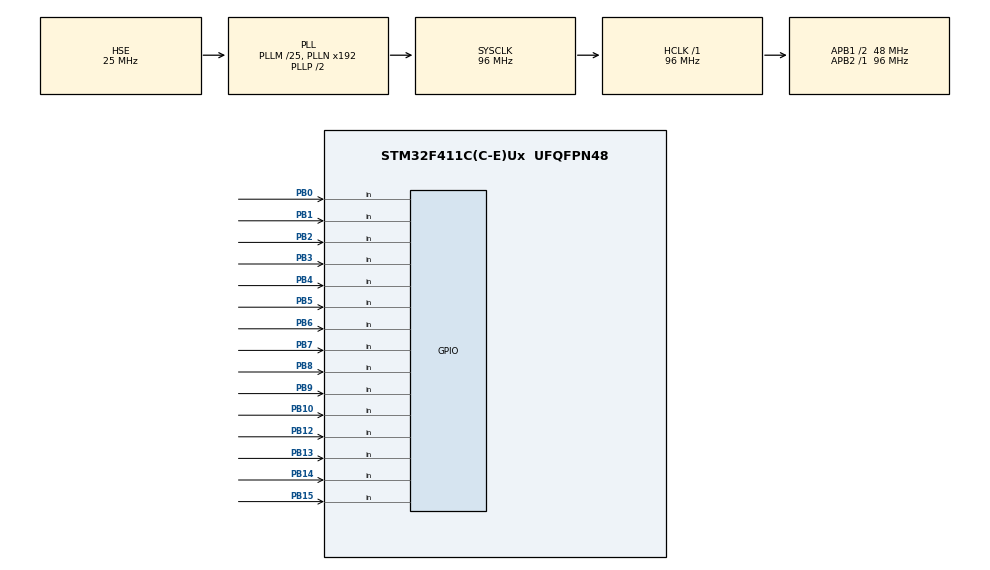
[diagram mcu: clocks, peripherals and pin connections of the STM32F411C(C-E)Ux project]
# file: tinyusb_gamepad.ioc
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FREERTOS.Tasks01=defaultTask,0,256,StartDefaultTask,Default,NULL,Dynamic,NULL,NULL
FREERTOS.configENABLE_FPU=1
FREERTOS.configMINIMAL_STACK_SIZE=256
FREERTOS.configTOTAL_HEAP_SIZE=32768
FREERTOS.configUSE_NEWLIB_REENTRANT=1
FREERTOS.configUSE_TIMERS=1
Mcu.Family=STM32F4
Mcu.Name=STM32F411C(C-E)Ux
Mcu.Package=UFQFPN48
NVIC.PriorityGroup=NVIC_PRIORITYGROUP_4
NVIC.TIM1_UP_TIM10_IRQn=true\:15\:0\:false\:false\:true\:false\:false\:true\:true
NVIC.TimeBase=TIM1_UP_TIM10_IRQn
NVIC.TimeBaseIP=TIM1
PB0.GPIO_PuPd=GPIO_PULLUP
PB0.Signal=GPIO_Input
PB1.GPIO_PuPd=GPIO_PULLUP
PB1.Signal=GPIO_Input
PB10.GPIO_PuPd=GPIO_PULLUP
PB10.Signal=GPIO_Input
PB12.GPIO_PuPd=GPIO_PULLUP
PB12.Signal=GPIO_Input
PB13.GPIO_PuPd=GPIO_PULLUP
PB13.Signal=GPIO_Input
PB14.GPIO_PuPd=GPIO_PULLUP
PB14.Signal=GPIO_Input
PB15.GPIO_PuPd=GPIO_PULLUP
PB15.Signal=GPIO_Input
PB2.GPIO_PuPd=GPIO_PULLUP
PB2.Signal=GPIO_Input
PB3.GPIO_PuPd=GPIO_PULLUP
PB3.Signal=GPIO_Input
PB4.GPIO_PuPd=GPIO_PULLUP
PB4.Signal=GPIO_Input
PB5.GPIO_PuPd=GPIO_PULLUP
PB5.Signal=GPIO_Input
PB6.GPIO_PuPd=GPIO_PULLUP
PB6.Signal=GPIO_Input
PB7.GPIO_PuPd=GPIO_PULLUP
PB7.Signal=GPIO_Input
PB8.GPIO_PuPd=GPIO_PULLUP
PB8.Signal=GPIO_Input
PB9.GPIO_PuPd=GPIO_PULLUP
PB9.Signal=GPIO_Input
PH0\ -\ OSC_IN.Mode=HSE-External-Oscillator
PH0\ -\ OSC_IN.Signal=RCC_OSC_IN
PH1\ -\ OSC_OUT.Mode=HSE-External-Oscillator
PH1\ -\ OSC_OUT.Signal=RCC_OSC_OUT
ProjectManager.HeapSize=0x200
ProjectManager.StackSize=0x400
ProjectManager.TargetToolchain=STM32CubeIDE
RCC.48MHZClocksFreq_Value=48000000
RCC.AHBFreq_Value=96000000
RCC.APB1CLKDivider=RCC_HCLK_DIV2
RCC.APB1Freq_Value=48000000
RCC.APB1TimFreq_Value=96000000
RCC.APB2Freq_Value=96000000
RCC.APB2TimFreq_Value=96000000
RCC.CortexFreq_Value=96000000
RCC.HCLKFreq_Value=96000000
RCC.HSE_VALUE=25000000
RCC.HSI_VALUE=16000000
RCC.LSE_VALUE=32768
RCC.PLLM=25
RCC.PLLSourceVirtual=RCC_PLLSOURCE_HSE
RCC.SYSCLKFreq_VALUE=96000000
RCC.SYSCLKSource=RCC_SYSCLKSOURCE_PLLCLK
RCC.VCOOutputFreq_Value=192000000
VP_FREERTOS_VS_CMSIS_V1.Mode=CMSIS_V1
VP_SYS_VS_tim1.Mode=TIM1
board=custom

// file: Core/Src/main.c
/* USER CODE BEGIN Header */
/**
  ******************************************************************************
  * @file           : main.c
  * @brief          : Main program body
  ******************************************************************************
  * @attention
  *
  * Copyright (c) 2024 STMicroelectronics.
  * All rights reserved.
  *
  * This software is licensed under terms that can be found in the LICENSE file
  * in the root directory of this software component.
  * If no LICENSE file comes with this software, it is provided AS-IS.
  *
  ******************************************************************************
  */
/* USER CODE END Header */
#include "main.h"
#include "cmsis_os.h"

/* USER CODE BEGIN Includes */
#include "board_api.h"
#include "tusb.h"
#include "usb_descriptors.h"
#include "FreeRTOS_CLI.h"
/* USER CODE END Includes */

/* USER CODE BEGIN PTD */
typedef struct gamepad_t_{
	uint16_t debounced_gpio;
	uint16_t previous_debounced_gpio;
	uint32_t gpio_debounce_time[16];
	uint8_t  mapped_button[16];
	bool 	 updated;
}gamepad_t;
/* USER CODE END PTD */

/* USER CODE BEGIN PD */
#define USBD_STACK_SIZE    (6*configMINIMAL_STACK_SIZE/2) * (CFG_TUSB_DEBUG ? 2 : 1)
#define CDC_STACK_SIZE     2*configMINIMAL_STACK_SIZE
#define HID_STACK_SIZE     2*configMINIMAL_STACK_SIZE

#define DEBOUNCE_TIME 		5
#define DEFAULT_MAPPING		0
#define PIN_MASK			0xF7FB
/* USER CODE END PD */

osThreadId defaultTaskHandle;

void SystemClock_Config(void);
static void MX_GPIO_Init(void);
void StartDefaultTask(void const * argument);

/* USER CODE BEGIN 0 */
uint16_t gpio_get_all(void){
	uint16_t raw_gpio = GPIOB->IDR;
	// Remove GPIOB Pin 11 from pin mask
	// if a button is pressed, its bit is set
	raw_gpio = ~raw_gpio;
	raw_gpio = raw_gpio & PIN_MASK;
	return raw_gpio;
}

void gamepad_init(gamepad_t *gamepad, uint8_t *mapped_buttons){
	for (int i=0;i<16;i++){
		gamepad->mapped_button[i] = *mapped_buttons++;
		gamepad->gpio_debounce_time[i] = 0;
	}
	gamepad->updated = false;
	gamepad->debounced_gpio = 0;
	//gamepad->previous_debounced_gpio = 0;
}

void gamepad_new_button_map(gamepad_t *gamepad, uint8_t *mapped_buttons){
	for (int i=0;i<16;i++){
		gamepad->mapped_button[i] = *mapped_buttons++;
	}
}

bool debounceGpioGetAll(gamepad_t *gamepad){
	uint16_t raw_gpio = gpio_get_all();
	if (gamepad->debounced_gpio == (raw_gpio & PIN_MASK)) {
		if (gamepad->debounced_gpio) {
			gamepad->updated = true;
			return true;
		}else{
			gamepad->updated = false;
			return false;
		}
	}

	uint32_t now = board_millis();
	// check each button use case GPIO for state
	for (int pin = 0; pin < 16; pin++) {
		uint16_t pin_mask = 1 << pin;
		if (pin != 11){
			// Allow debouncer to change state if button state changed and debounce delay threshold met
			if ((gamepad->debounced_gpio & pin_mask) != (raw_gpio & pin_mask) && ((now - gamepad->gpio_debounce_time[pin]) > DEBOUNCE_TIME)) {
				gamepad->debounced_gpio ^= pin_mask;
				gamepad->gpio_debounce_time[pin] = now;
			}
		}
	}
	gamepad->updated = true;
	return true;
}

/* Blink pattern
 * - 250 ms  : device not mounted
 * - 1000 ms : device mounted
 * - 2500 ms : device is suspended
 */
enum  {
  BLINK_NOT_MOUNTED = 250,
  BLINK_MOUNTED = 1000,
  BLINK_SUSPENDED = 2500,
};

TimerHandle_t blinky_tm;

// USB Device Driver task
// This top level thread process all usb events and invoke callbacks
void usb_device_task(void* param)
{
  (void) param;

  // init device stack on configured roothub port
  // This should be called after scheduler/kernel is started.
  // Otherwise it could cause kernel issue since USB IRQ handler does use RTOS queue API.
  tud_init(BOARD_TUD_RHPORT);

  // RTOS forever loop
  while (1)
  {
    // put this thread to waiting state until there is new events
    tud_task();

    // following code only run if tud_task() process at least 1 event
    //tud_cdc_write_flush();
  }
}

//--------------------------------------------------------------------+
// Device callbacks
//--------------------------------------------------------------------+

// Invoked when device is mounted
void tud_mount_cb(void)
{
  xTimerChangePeriod(blinky_tm, pdMS_TO_TICKS(BLINK_MOUNTED), 0);
}

// Invoked when device is unmounted
void tud_umount_cb(void)
{
  xTimerChangePeriod(blinky_tm, pdMS_TO_TICKS(BLINK_NOT_MOUNTED), 0);
}

// Invoked when usb bus is suspended
// remote_wakeup_en : if host allow us  to perform remote wakeup
// Within 7ms, device must draw an average of current less than 2.5 mA from bus
void tud_suspend_cb(bool remote_wakeup_en)
{
  (void) remote_wakeup_en;
  xTimerChangePeriod(blinky_tm, pdMS_TO_TICKS(BLINK_SUSPENDED), 0);
}

// Invoked when usb bus is resumed
void tud_resume_cb(void)
{
  xTimerChangePeriod(blinky_tm, pdMS_TO_TICKS(BLINK_MOUNTED), 0);
}

//--------------------------------------------------------------------+
// USB HID
//--------------------------------------------------------------------+
uint32_t count = 0;
static void send_hid_report(uint8_t report_id, gamepad_t *gamepad)
{
  // skip if hid is not ready yet
  if ( !tud_hid_ready() ) return;

  switch(report_id)
  {
    case REPORT_ID_KEYBOARD:
    {
      // use to avoid send multiple consecutive zero report for keyboard
      static bool has_keyboard_key = false;

      if (gamepad->updated)
      {
        uint8_t keycode[6] = { 0 };
        int idx = 0;
        for (int pin=0; pin<16;pin++){
        	uint16_t pin_mask = 1 << pin;
        	//uint16_t pin = gamepad->debounced_gpio & pin_mask;
        	//uint16_t previous_pin_state = gamepad->previous_debounced_gpio & pin_mask;

        	if (gamepad->debounced_gpio & pin_mask){
        		keycode[idx++] = gamepad->mapped_button[15-pin];
        		if (idx >= 6) {
        			// max of 6 different buttons pressed at same time
        			break;
        		}
        	}
        }
		#if 0
        count++;
        if (count>=600){
        	if (count > 800){
        		count = 0;
        	}
            keycode[0] = HID_KEY_ARROW_RIGHT;
            keycode[1] = HID_KEY_SPACE;
        }else{
            keycode[0] = HID_KEY_ARROW_RIGHT;
        }
		#endif

        tud_hid_keyboard_report(REPORT_ID_KEYBOARD, 0, keycode);
        has_keyboard_key = true;
      }else
      {
        // send empty key report if previously has key pressed
        if (has_keyboard_key) tud_hid_keyboard_report(REPORT_ID_KEYBOARD, 0, NULL);
        has_keyboard_key = false;
      }
    }
    break;

    case REPORT_ID_MOUSE:
    {
      int8_t const delta = 5;

      // no button, right + down, no scroll, no pan
      tud_hid_mouse_report(REPORT_ID_MOUSE, 0x00, delta, delta, 0, 0);
    }
    break;

#if 0
    case REPORT_ID_CONSUMER_CONTROL:
    {
      // use to avoid send multiple consecutive zero report
      static bool has_consumer_key = false;

      if ( btn )
      {
        // volume down
        uint16_t volume_down = HID_USAGE_CONSUMER_VOLUME_DECREMENT;
        tud_hid_report(REPORT_ID_CONSUMER_CONTROL, &volume_down, 2);
        has_consumer_key = true;
      }else
      {
        // send empty key report (release key) if previously has key pressed
        uint16_t empty_key = 0;
        if (has_consumer_key) tud_hid_report(REPORT_ID_CONSUMER_CONTROL, &empty_key, 2);
        has_consumer_key = false;
      }
    }
    break;

    case REPORT_ID_GAMEPAD:
    {
      // use to avoid send multiple consecutive zero report for keyboard
      static bool has_gamepad_key = false;

      hid_gamepad_report_t report =
      {
        .x   = 0, .y = 0, .z = 0, .rz = 0, .rx = 0, .ry = 0,
        .hat = 0, .buttons = 0
      };

      if ( btn )
      {
        report.hat = GAMEPAD_HAT_UP;
        report.buttons = GAMEPAD_BUTTON_A;
        tud_hid_report(REPORT_ID_GAMEPAD, &report, sizeof(report));

        has_gamepad_key = true;
      }else
      {
        report.hat = GAMEPAD_HAT_CENTERED;
        report.buttons = 0;
        if (has_gamepad_key) tud_hid_report(REPORT_ID_GAMEPAD, &report, sizeof(report));
        has_gamepad_key = false;
      }
    }
    break;
#endif

    default: break;
  }
}

static gamepad_t gamepad;
static int current_mapping = DEFAULT_MAPPING;
static uint8_t mapped_buttons[3][16] = {{HID_KEY_O, HID_KEY_ENTER, HID_KEY_N, HID_KEY_SPACE, 0, 0, 0, HID_KEY_I, HID_KEY_U, HID_KEY_W, HID_KEY_D, HID_KEY_S, HID_KEY_A, 0, HID_KEY_K, HID_KEY_J}, {HID_KEY_K, HID_KEY_M, HID_KEY_N, HID_KEY_B, 0, 0, 0, HID_KEY_H, HID_KEY_ARROW_UP, HID_KEY_SPACE, HID_KEY_ARROW_RIGHT, HID_KEY_ENTER, HID_KEY_ARROW_LEFT, 0, HID_KEY_J, HID_KEY_ARROW_DOWN}, {0}};
//static uint8_t mapped_buttons[16] = {HID_KEY_K, HID_KEY_M, HID_KEY_N, HID_KEY_B, 0, 0, 0, HID_KEY_H, HID_KEY_ARROW_UP, HID_KEY_SPACE, HID_KEY_ARROW_RIGHT, HID_KEY_ENTER, HID_KEY_ARROW_LEFT, 0, HID_KEY_J, HID_KEY_ARROW_DOWN};

void hid_task(void* param)
{
  (void) param;
  gamepad_init(&gamepad, (uint8_t *)&mapped_buttons[current_mapping]);

  while(1)
  {
    // Poll every 2ms
    vTaskDelay(2);

    //uint32_t const btn = board_button_read();
    bool state_changed = debounceGpioGetAll(&gamepad);

    // Remote wakeup
    if (tud_suspended() && state_changed)
    {
      // Wake up host if we are in suspend mode
      // and REMOTE_WAKEUP feature is enabled by host
      tud_remote_wakeup();
    }
    else
    {
      // Send the 1st of report chain, the rest will be sent by tud_hid_report_complete_cb()
      send_hid_report(REPORT_ID_KEYBOARD, &gamepad);
    }
  }
}

// Invoked when sent REPORT successfully to host
// Application can use this to send the next report
// Note: For composite reports, report[0] is report ID
void tud_hid_report_complete_cb(uint8_t instance, uint8_t const* report, uint16_t len)
{
  (void) instance;
  (void) len;

  //uint8_t next_report_id = report[0] + 1;

  //if (next_report_id < REPORT_ID_COUNT)
  //{
    //send_hid_report(next_report_id, board_button_read());
	  //send_hid_report(REPORT_ID_KEYBOARD, board_button_read());
  	  send_hid_report(REPORT_ID_KEYBOARD, &gamepad);
  //}
}

// Invoked when received GET_REPORT control request
// Application must fill buffer report's content and return its length.
// Return zero will cause the stack to STALL request
uint16_t tud_hid_get_report_cb(uint8_t instance, uint8_t report_id, hid_report_type_t report_type, uint8_t* buffer, uint16_t reqlen)
{
  // TODO not Implemented
  (void) instance;
  (void) report_id;
  (void) report_type;
  (void) buffer;
  (void) reqlen;

  return 0;
}

// Invoked when received SET_REPORT control request or
// received data on OUT endpoint ( Report ID = 0, Type = 0 )
void tud_hid_set_report_cb(uint8_t instance, uint8_t report_id, hid_report_type_t report_type, uint8_t const* buffer, uint16_t bufsize)
{
  (void) instance;

  if (report_type == HID_REPORT_TYPE_OUTPUT)
  {
    // Set keyboard LED e.g Capslock, Numlock etc...
    if (report_id == REPORT_ID_KEYBOARD)
    {
      // bufsize should be (at least) 1
      if ( bufsize < 1 ) return;

      uint8_t const kbd_leds = buffer[0];

      if (kbd_leds & KEYBOARD_LED_CAPSLOCK)
      {
        // Capslock On: disable blink, turn led on
        xTimerStop(blinky_tm, portMAX_DELAY);
        board_led_write(true);
      }else
      {
        // Caplocks Off: back to normal blink
        board_led_write(false);
        xTimerStart(blinky_tm, portMAX_DELAY);
      }
    }
  }
}

//--------------------------------------------------------------------+
// BLINKING TASK
//--------------------------------------------------------------------+
void led_blinky_cb(TimerHandle_t xTimer)
{
  (void) xTimer;
  static bool led_state = false;

  board_led_write(led_state);
  led_state = 1 - led_state; // toggle
}

#define MAX_INPUT_LENGTH    256
#define MAX_OUTPUT_LENGTH   256
SemaphoreHandle_t sem_cdc_rx, sem_cdc_tx;

void CDC_Transmit_HS(void const* buffer, uint32_t bufsize){
	tud_cdc_write((uint8_t *)buffer, bufsize);
    tud_cdc_write_flush();
    xSemaphoreTake(sem_cdc_tx, portMAX_DELAY);
}

static BaseType_t prvTaskButtonMapCommand( char *pcWriteBuffer,
                                          size_t xWriteBufferLen,
										  const char *pcCommandString )
{
	char *pcParameter;
	BaseType_t lParameterStringLength;
    pcParameter = ( char * ) FreeRTOS_CLIGetParameter
                                (
                                    /* The command string itself. */
                                    pcCommandString,
                                    /* Return the next parameter. */
                                    1,
                                    /* Store the parameter string length. */
                                    &lParameterStringLength
                                );
    if (strncmp(pcParameter, "get", lParameterStringLength) == 0){
    	switch (current_mapping){
    		case 0:
    			sprintf( pcWriteBuffer, "Current button mapping: {HID_KEY_O, HID_KEY_ENTER, HID_KEY_N, HID_KEY_SPACE, 0, 0, 0, HID_KEY_I, HID_KEY_U, HID_KEY_W, HID_KEY_D, HID_KEY_S, HID_KEY_A, 0, HID_KEY_K, HID_KEY_J}\n\r\n\r");
    			break;
    		case 1:
    			sprintf( pcWriteBuffer, "Current button mapping: {HID_KEY_K, HID_KEY_M, HID_KEY_N, HID_KEY_B, 0, 0, 0, HID_KEY_H, HID_KEY_ARROW_UP, HID_KEY_SPACE, HID_KEY_ARROW_RIGHT, HID_KEY_ENTER, HID_KEY_ARROW_LEFT, 0, HID_KEY_J, HID_KEY_ARROW_DOWN}\n\r\n\r");
    			break;
    		case 2:
    			sprintf( pcWriteBuffer, "Alternative button mapping\n\r\n\r");
    			break;
    		default:
    			break;
    	}
    }else if (strncmp(pcParameter, "set", lParameterStringLength) == 0){
        pcParameter = ( char * ) FreeRTOS_CLIGetParameter
                                    (
                                        /* The command string itself. */
                                        pcCommandString,
                                        /* Return the next parameter. */
                                        2,
                                        /* Store the parameter string length. */
                                        &lParameterStringLength
                                    );
        if (strncmp(pcParameter, "1", lParameterStringLength) == 0){
        	current_mapping = 0;
        	sprintf( pcWriteBuffer, "Define default button mapping\n\r\n\r");
        	gamepad_new_button_map(&gamepad, mapped_buttons[current_mapping]);
        }else if (strncmp(pcParameter, "2", lParameterStringLength) == 0){
        	current_mapping = 1;
        	sprintf( pcWriteBuffer, "Define alternative button mapping\n\r\n\r");
        	gamepad_new_button_map(&gamepad, mapped_buttons[current_mapping]);
        }else if (strncmp(pcParameter, "3", lParameterStringLength) == 0){
            pcParameter = ( char * ) FreeRTOS_CLIGetParameter
                                        (
                                            /* The command string itself. */
                                            pcCommandString,
                                            /* Return the next parameter. */
                                            3,
                                            /* Store the parameter string length. */
                                            &lParameterStringLength
                                        );
            // parse third argument
        	current_mapping = 2;
        	sprintf( pcWriteBuffer, "Define custom button mapping\n\r\n\r");
        	gamepad_new_button_map(&gamepad, mapped_buttons[current_mapping]);
        }else{
        	sprintf( pcWriteBuffer, "Invalid Arg 1!\n\r");
        }
    }
    return pdFALSE;
}

static const CLI_Command_Definition_t xButtonsMapCommand =
{
	"map_buttons",
	"map_buttons: Define the button mapping\r\n\r\n\
	Usage: map_buttons [COMMAND] [ARG1] [ARG2]\r\n\r\n\
	Command:\r\n\\
	   get        Return the button mapping in use (whithout args)\r\n\
	   set		  Specify a valid button map\r\n\r\n\
	Arg1:\n\r\
	   1 for the default button map: {HID_KEY_O, HID_KEY_ENTER, ..}\r\n\
	   2 for the alternative button map: {HID_KEY_K, HID_KEY_M, ..}\r\n\
	   3 for a custom map in the same format of the previous mapping tables: {HID_KEY_O, HID_KEY_ENTER, ...}\r\n\
	Arg2:\n\r\
	   custom map with 16 keys\n\r",
	prvTaskButtonMapCommand,
    -1
};
//--------------------------------------------------------------------+
// USB CDC
//--------------------------------------------------------------------+
void cdc_task(void* params)
{
  (void) params;
  sem_cdc_rx = xSemaphoreCreateBinary();
  sem_cdc_tx = xSemaphoreCreateBinary();

	char *welcome = "FreeRTOS Console is running!\n\r";
	char cRxedChar;
	uint32_t cInputIndex = 0;
	BaseType_t xMoreDataToFollow;
	/* The input and output buffers are declared static to keep them off the stack. */
	static char pcOutputString[ MAX_OUTPUT_LENGTH ], pcInputString[ MAX_INPUT_LENGTH ];

	do {
		vTaskDelay(10);
	}while (!tud_cdc_connected());

	CDC_Transmit_HS(welcome, strlen(welcome));
	FreeRTOS_CLIRegisterCommand(&xButtonsMapCommand);

  // RTOS forever loop
	while(1)
	{
			/* This implementation reads a single character at a time.  Wait in the
			Blocked state until a character is received. */
			xSemaphoreTake(sem_cdc_rx, portMAX_DELAY);
			// read
			(void)tud_cdc_read(&cRxedChar, 1);

			if( cRxedChar == '\r' )
			{
				/* A newline character was received, so the input command string is
				complete and can be processed.  Transmit a line separator, just to
				make the output easier to read. */
				(void)CDC_Transmit_HS((uint8_t *)"\n\r", 2);

				/* The command interpreter is called repeatedly until it returns
				pdFALSE.  See the "Implementing a command" documentation for an
				exaplanation of why this is. */
				do
				{
					/* Send the command string to the command interpreter.  Any
					output generated by the command interpreter will be placed in the
					pcOutputString buffer. */
					xMoreDataToFollow = FreeRTOS_CLIProcessCommand
								  (
									  pcInputString,   /* The command string.*/
									  pcOutputString,  /* The output buffer. */
									  MAX_OUTPUT_LENGTH/* The size of the output buffer. */
								  );

					/* Write the output generated by the command interpreter to the
					console. */
					(void)CDC_Transmit_HS((uint8_t *)pcOutputString, strlen( pcOutputString ) );

				} while( xMoreDataToFollow != pdFALSE );

				/* All the strings generated by the input command have been sent.
				Processing of the command is complete.  Clear the input string ready
				to receive the next command. */
				cInputIndex = 0;
				memset( pcInputString, 0x00, MAX_INPUT_LENGTH );
			}
			else
			{
				/* The if() clause performs the processing after a newline character
				is received.  This else clause performs the processing if any other
				character is received. */

				if( cRxedChar == '\n' )
				{
					/* Ignore carriage returns. */
				}
				else if( (cRxedChar == '\b') || (cRxedChar == 127))
				{
					/* Backspace was pressed.  Erase the last character in the input
					buffer - if there are any. */
					if( cInputIndex > 0 )
					{
						cInputIndex--;
						pcInputString[ cInputIndex ] = '\0';
						(void)CDC_Transmit_HS((uint8_t *)&cRxedChar, 1);
					}
				}
				else
				{
					/* A character was entered.  It was not a new line, backspace
					or carriage return, so it is accepted as part of the input and
					placed into the input buffer.  When a n is entered the complete
					string will be passed to the command interpreter. */
					if( cInputIndex < MAX_INPUT_LENGTH )
					{
						pcInputString[ cInputIndex ] = cRxedChar;
						(void)CDC_Transmit_HS((uint8_t *)&cRxedChar, 1);
						cInputIndex++;
					}
				}
			}
	}
}
/* USER CODE END 0 */

int main(void)
{

  /* MCU Configuration--------------------------------------------------------*/

  /* Reset of all peripherals, Initializes the Flash interface and the Systick. */
  HAL_Init();

  /* Configure the system clock */
  //SystemClock_Config();

  /* USER CODE BEGIN SysInit */
  board_init();
  /* USER CODE END SysInit */

  /* Initialize all configured peripherals */
  MX_GPIO_Init();

  /* Create the thread(s) */
  /* definition and creation of defaultTask */
  //osThreadDef(defaultTask, StartDefaultTask, osPriorityNormal, 0, 256);
  //defaultTaskHandle = osThreadCreate(osThread(defaultTask), NULL);

  /* USER CODE BEGIN RTOS_THREADS */
  /* add threads, ... */
  blinky_tm = xTimerCreate(NULL, pdMS_TO_TICKS(BLINK_NOT_MOUNTED), true, NULL, led_blinky_cb);
  xTaskCreate( usb_device_task, "usbd", USBD_STACK_SIZE, NULL, configMAX_PRIORITIES-1, NULL);
  xTaskCreate( cdc_task, "cdc", CDC_STACK_SIZE, NULL, configMAX_PRIORITIES-3, NULL);
  xTaskCreate( hid_task, "hid", CDC_STACK_SIZE, NULL, configMAX_PRIORITIES-2, NULL);

  xTimerStart(blinky_tm, 0);
  /* USER CODE END RTOS_THREADS */

  /* Start scheduler */
  osKernelStart();

  /* We should never get here as control is now taken by the scheduler */
  /* Infinite loop */
  while (1)
  {

  }
}

void SystemClock_Config(void)
{
  RCC_OscInitTypeDef RCC_OscInitStruct = {0};
  RCC_ClkInitTypeDef RCC_ClkInitStruct = {0};

  /** Configure the main internal regulator output voltage
  */
  __HAL_RCC_PWR_CLK_ENABLE();
  __HAL_PWR_VOLTAGESCALING_CONFIG(PWR_REGULATOR_VOLTAGE_SCALE1);

  /** Initializes the RCC Oscillators according to the specified parameters
  * in the RCC_OscInitTypeDef structure.
  */
  RCC_OscInitStruct.OscillatorType = RCC_OSCILLATORTYPE_HSE;
  RCC_OscInitStruct.HSEState = RCC_HSE_ON;
  RCC_OscInitStruct.PLL.PLLState = RCC_PLL_ON;
  RCC_OscInitStruct.PLL.PLLSource = RCC_PLLSOURCE_HSE;
  RCC_OscInitStruct.PLL.PLLM = 25;
  RCC_OscInitStruct.PLL.PLLN = 192;
  RCC_OscInitStruct.PLL.PLLP = RCC_PLLP_DIV2;
  RCC_OscInitStruct.PLL.PLLQ = 4;
  if (HAL_RCC_OscConfig(&RCC_OscInitStruct) != HAL_OK)
  {
    Error_Handler();
  }

  /** Initializes the CPU, AHB and APB buses clocks
  */
  RCC_ClkInitStruct.ClockType = RCC_CLOCKTYPE_HCLK|RCC_CLOCKTYPE_SYSCLK
                              |RCC_CLOCKTYPE_PCLK1|RCC_CLOCKTYPE_PCLK2;
  RCC_ClkInitStruct.SYSCLKSource = RCC_SYSCLKSOURCE_PLLCLK;
  RCC_ClkInitStruct.AHBCLKDivider = RCC_SYSCLK_DIV1;
  RCC_ClkInitStruct.APB1CLKDivider = RCC_HCLK_DIV2;
  RCC_ClkInitStruct.APB2CLKDivider = RCC_HCLK_DIV1;

  if (HAL_RCC_ClockConfig(&RCC_ClkInitStruct, FLASH_LATENCY_3) != HAL_OK)
  {
    Error_Handler();
  }
}

static void MX_GPIO_Init(void)
{
  GPIO_InitTypeDef GPIO_InitStruct = {0};

  /* GPIO Ports Clock Enable */
  __HAL_RCC_GPIOH_CLK_ENABLE();
  __HAL_RCC_GPIOB_CLK_ENABLE();

  /*Configure GPIO pins : PB0 PB1 PB2 PB10
                           PB12 PB13 PB14 PB15
                           PB3 PB4 PB5 PB6
                           PB7 PB8 PB9 */
  GPIO_InitStruct.Pin = GPIO_PIN_0|GPIO_PIN_1|GPIO_PIN_2|GPIO_PIN_10
                          |GPIO_PIN_12|GPIO_PIN_13|GPIO_PIN_14|GPIO_PIN_15
                          |GPIO_PIN_3|GPIO_PIN_4|GPIO_PIN_5|GPIO_PIN_6
                          |GPIO_PIN_7|GPIO_PIN_8|GPIO_PIN_9;
  GPIO_InitStruct.Mode = GPIO_MODE_INPUT;
  GPIO_InitStruct.Pull = GPIO_PULLUP;
  HAL_GPIO_Init(GPIOB, &GPIO_InitStruct);

}

#if 0
void StartDefaultTask(void const * argument)
{
  for(;;)
  {
    osDelay(1);
  }
}
#endif

void HAL_TIM_PeriodElapsedCallback(TIM_HandleTypeDef *htim)
{
  if (htim->Instance == TIM1) {
    HAL_IncTick();
  }
}

void Error_Handler(void)
{
  __disable_irq();
  while (1)
  {
  }
}
